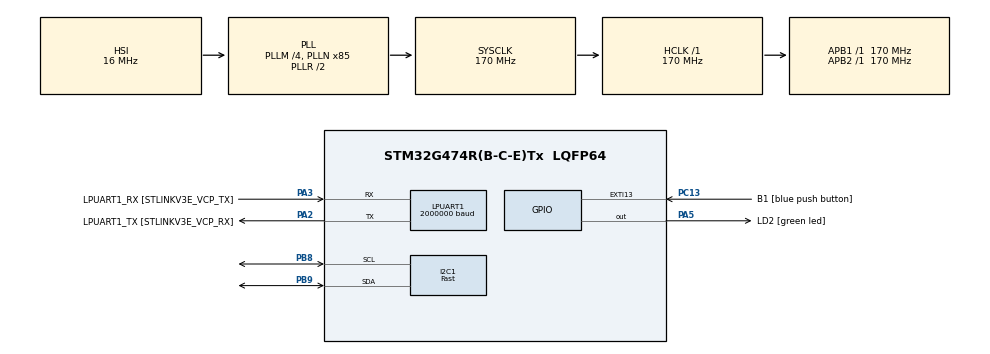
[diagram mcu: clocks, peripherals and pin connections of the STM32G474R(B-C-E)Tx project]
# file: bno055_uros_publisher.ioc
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Dma.I2C1_RX.1.Direction=DMA_PERIPH_TO_MEMORY
Dma.I2C1_RX.1.EventEnable=DISABLE
Dma.I2C1_RX.1.Instance=DMA1_Channel4
Dma.I2C1_RX.1.MemDataAlignment=DMA_MDATAALIGN_BYTE
Dma.I2C1_RX.1.MemInc=DMA_MINC_ENABLE
Dma.I2C1_RX.1.Mode=DMA_NORMAL
Dma.I2C1_RX.1.PeriphDataAlignment=DMA_PDATAALIGN_BYTE
Dma.I2C1_RX.1.PeriphInc=DMA_PINC_DISABLE
Dma.I2C1_RX.1.Polarity=HAL_DMAMUX_REQ_GEN_RISING
Dma.I2C1_RX.1.Priority=DMA_PRIORITY_LOW
Dma.I2C1_RX.1.RequestNumber=1
Dma.I2C1_RX.1.SignalID=NONE
Dma.I2C1_RX.1.SyncEnable=DISABLE
Dma.I2C1_RX.1.SyncPolarity=HAL_DMAMUX_SYNC_NO_EVENT
Dma.I2C1_RX.1.SyncRequestNumber=1
Dma.I2C1_RX.1.SyncSignalID=NONE
Dma.I2C1_TX.0.Direction=DMA_MEMORY_TO_PERIPH
Dma.I2C1_TX.0.EventEnable=DISABLE
Dma.I2C1_TX.0.Instance=DMA1_Channel3
Dma.I2C1_TX.0.MemDataAlignment=DMA_MDATAALIGN_BYTE
Dma.I2C1_TX.0.MemInc=DMA_MINC_ENABLE
Dma.I2C1_TX.0.Mode=DMA_NORMAL
Dma.I2C1_TX.0.PeriphDataAlignment=DMA_PDATAALIGN_BYTE
Dma.I2C1_TX.0.PeriphInc=DMA_PINC_DISABLE
Dma.I2C1_TX.0.Polarity=HAL_DMAMUX_REQ_GEN_RISING
Dma.I2C1_TX.0.Priority=DMA_PRIORITY_LOW
Dma.I2C1_TX.0.RequestNumber=1
Dma.I2C1_TX.0.SignalID=NONE
Dma.I2C1_TX.0.SyncEnable=DISABLE
Dma.I2C1_TX.0.SyncPolarity=HAL_DMAMUX_SYNC_NO_EVENT
Dma.I2C1_TX.0.SyncRequestNumber=1
Dma.I2C1_TX.0.SyncSignalID=NONE
Dma.LPUART1_RX.3.Direction=DMA_PERIPH_TO_MEMORY
Dma.LPUART1_RX.3.EventEnable=DISABLE
Dma.LPUART1_RX.3.Instance=DMA1_Channel6
Dma.LPUART1_RX.3.MemDataAlignment=DMA_MDATAALIGN_BYTE
Dma.LPUART1_RX.3.MemInc=DMA_MINC_ENABLE
Dma.LPUART1_RX.3.Mode=DMA_CIRCULAR
Dma.LPUART1_RX.3.PeriphDataAlignment=DMA_PDATAALIGN_BYTE
Dma.LPUART1_RX.3.PeriphInc=DMA_PINC_DISABLE
Dma.LPUART1_RX.3.Polarity=HAL_DMAMUX_REQ_GEN_RISING
Dma.LPUART1_RX.3.Priority=DMA_PRIORITY_VERY_HIGH
Dma.LPUART1_RX.3.RequestNumber=1
Dma.LPUART1_RX.3.SignalID=NONE
Dma.LPUART1_RX.3.SyncEnable=DISABLE
Dma.LPUART1_RX.3.SyncPolarity=HAL_DMAMUX_SYNC_NO_EVENT
Dma.LPUART1_RX.3.SyncRequestNumber=1
Dma.LPUART1_RX.3.SyncSignalID=NONE
Dma.LPUART1_TX.2.Direction=DMA_MEMORY_TO_PERIPH
Dma.LPUART1_TX.2.EventEnable=DISABLE
Dma.LPUART1_TX.2.Instance=DMA1_Channel2
Dma.LPUART1_TX.2.MemDataAlignment=DMA_MDATAALIGN_BYTE
Dma.LPUART1_TX.2.MemInc=DMA_MINC_ENABLE
Dma.LPUART1_TX.2.Mode=DMA_NORMAL
Dma.LPUART1_TX.2.PeriphDataAlignment=DMA_PDATAALIGN_BYTE
Dma.LPUART1_TX.2.PeriphInc=DMA_PINC_DISABLE
Dma.LPUART1_TX.2.Polarity=HAL_DMAMUX_REQ_GEN_RISING
Dma.LPUART1_TX.2.Priority=DMA_PRIORITY_VERY_HIGH
Dma.LPUART1_TX.2.RequestNumber=1
Dma.LPUART1_TX.2.SignalID=NONE
Dma.LPUART1_TX.2.SyncEnable=DISABLE
Dma.LPUART1_TX.2.SyncPolarity=HAL_DMAMUX_SYNC_NO_EVENT
Dma.LPUART1_TX.2.SyncRequestNumber=1
Dma.LPUART1_TX.2.SyncSignalID=NONE
Dma.Request0=I2C1_TX
Dma.Request1=I2C1_RX
Dma.Request2=LPUART1_TX
Dma.Request3=LPUART1_RX
FREERTOS.Tasks01=defaultTask,24,3000,StartDefaultTask,As weak,NULL,Static,defaultTaskBuffer,defaultTaskControlBlock
FREERTOS.configENABLE_FPU=1
FREERTOS.configTICK_RATE_HZ=1000
FREERTOS.configTIMER_TASK_STACK_DEPTH=256
I2C1.I2C_Speed_Mode=I2C_Fast
I2C1.Timing=0x40621236
IWDG.Reload=2499
LPUART1.BaudRate=2000000
Mcu.Family=STM32G4
Mcu.Name=STM32G474R(B-C-E)Tx
Mcu.Package=LQFP64
NVIC.DMA1_Channel2_IRQn=true\:5\:0\:false\:false\:true\:true\:false\:true\:true
NVIC.DMA1_Channel3_IRQn=true\:5\:0\:false\:false\:true\:true\:false\:true\:true
NVIC.DMA1_Channel4_IRQn=true\:5\:0\:false\:false\:true\:true\:false\:true\:true
NVIC.DMA1_Channel6_IRQn=true\:5\:0\:false\:false\:true\:true\:false\:true\:true
NVIC.I2C1_ER_IRQn=true\:5\:0\:false\:false\:true\:true\:true\:true\:true
NVIC.I2C1_EV_IRQn=true\:5\:0\:false\:false\:true\:true\:true\:true\:true
NVIC.LPUART1_IRQn=true\:5\:0\:false\:false\:true\:true\:true\:true\:true
NVIC.PriorityGroup=NVIC_PRIORITYGROUP_4
NVIC.TIM1_UP_TIM16_IRQn=true\:15\:0\:false\:false\:true\:false\:false\:true\:true
NVIC.TIM2_IRQn=true\:5\:0\:false\:false\:true\:true\:true\:true\:true
NVIC.TimeBase=TIM1_UP_TIM16_IRQn
NVIC.TimeBaseIP=TIM1
PA13.GPIO_Label=T_SWDIO
PA13.Signal=SYS_JTMS-SWDIO
PA14.GPIO_Label=T_SWCLK
PA14.Signal=SYS_JTCK-SWCLK
PA2.GPIO_Label=LPUART1_TX [STLINKV3E_VCP_RX]
PA2.Mode=Asynchronous
PA2.Signal=LPUART1_TX
PA3.GPIO_Label=LPUART1_RX [STLINKV3E_VCP_TX]
PA3.Mode=Asynchronous
PA3.Signal=LPUART1_RX
PA5.GPIO_Label=LD2 [green led]
PA5.Signal=GPIO_Output
PB3.GPIO_Label=T_SWO
PB3.Signal=SYS_JTDO-SWO
PB8-BOOT0.Mode=I2C
PB8-BOOT0.Signal=I2C1_SCL
PB9.Mode=I2C
PB9.Signal=I2C1_SDA
PC13.GPIO_Label=B1 [blue push button]
PC13.Signal=GPXTI13
PC14-OSC32_IN.GPIO_Label=RCC_OSC32_IN
PC14-OSC32_IN.Signal=RCC_OSC32_IN
PC15-OSC32_OUT.GPIO_Label=RCC_OSC32_OUT
PC15-OSC32_OUT.Signal=RCC_OSC32_OUT
PF0-OSC_IN.GPIO_Label=RCC_OSC_IN
PF0-OSC_IN.Signal=RCC_OSC_IN
PF1-OSC_OUT.GPIO_Label=RCC_OSC_OUT
PF1-OSC_OUT.Signal=RCC_OSC_OUT
ProjectManager.HeapSize=0x200
ProjectManager.StackSize=0x400
ProjectManager.TargetToolchain=STM32CubeIDE
RCC.ADC12Freq_Value=170000000
RCC.ADC345Freq_Value=170000000
RCC.AHBFreq_Value=170000000
RCC.APB1Freq_Value=170000000
RCC.APB1TimFreq_Value=170000000
RCC.APB2Freq_Value=170000000
RCC.APB2TimFreq_Value=170000000
RCC.CortexFreq_Value=170000000
RCC.EXTERNAL_CLOCK_VALUE=12288000
RCC.HCLKFreq_Value=170000000
RCC.HSE_VALUE=24000000
RCC.HSI48_VALUE=48000000
RCC.HSI_VALUE=16000000
RCC.LSE_VALUE=32768
RCC.PLLM=RCC_PLLM_DIV4
RCC.PLLN=85
RCC.RTCClockSelection=RCC_RTCCLKSOURCE_LSE
RCC.SYSCLKFreq_VALUE=170000000
RCC.SYSCLKSource=RCC_SYSCLKSOURCE_PLLCLK
RCC.USBFreq_Value=170000000
RCC.VCOOutputFreq_Value=340000000
TIM2.PeriodNoDither=999
TIM2.Prescaler=169
TIM2.TIM_MasterOutputTrigger=TIM_TRGO_UPDATE
VP_FREERTOS_VS_CMSIS_V2.Mode=CMSIS_V2
VP_IWDG_VS_IWDG.Mode=IWDG_Activate
VP_SYS_VS_DBSignals.Mode=DisableDeadBatterySignals
VP_SYS_VS_tim1.Mode=TIM1
VP_TIM2_VS_ClockSourceINT.Mode=Internal
board=NUCLEO-G474RE

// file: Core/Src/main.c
/* USER CODE BEGIN Header */
/**
 ******************************************************************************
 * @file           : main.c
 * @brief          : Main program body
 ******************************************************************************
 * @attention
 *
 * Copyright (c) 2025 STMicroelectronics.
 * All rights reserved.
 *
 * This software is licensed under terms that can be found in the LICENSE file
 * in the root directory of this software component.
 * If no LICENSE file comes with this software, it is provided AS-IS.
 *
 ******************************************************************************
 */
/* USER CODE END Header */
#include "main.h"
#include "cmsis_os.h"
#include "dma.h"
#include "i2c.h"
#include "iwdg.h"
#include "usart.h"
#include "tim.h"
#include "gpio.h"

/* USER CODE BEGIN Includes */
#include <rcl/rcl.h>
#include <rcl/error_handling.h>
#include <rclc/rclc.h>
#include <rclc/executor.h>
#include <uxr/client/transport.h>
#include <rmw_microxrcedds_c/config.h>
#include <rmw_microros/rmw_microros.h>

#include <std_msgs/msg/float64_multi_array.h>
#include "BNO055.h"
/* USER CODE END Includes */

/* USER CODE BEGIN PD */
#define RCCHECK(fn) if(fn != RCL_RET_OK) {};
/* USER CODE END PD */

/* USER CODE BEGIN PV */
rclc_support_t support;
rcl_allocator_t allocator;
rcl_node_t node;
rcl_init_options_t init_options;
rcl_timer_t timer_;
rclc_executor_t executor;

rcl_publisher_t f64array_pub;
double f64array_data[16];
std_msgs__msg__Float64MultiArray f64array_msg = { .data = { .data =
		f64array_data, .capacity = 16, .size = 16 } };

uint8_t sync = 0;

BNO055_t bno;

const calibration_data_t saved_calib = { .accel_offset_x = 8, .accel_offset_y =
		17, .accel_offset_z = -17, .mag_offset_x = -396, .mag_offset_y = 179,
		.mag_offset_z = -221, .gyro_offset_x = -2, .gyro_offset_y = 1,
		.gyro_offset_z = 0, .accel_radius = 1000, .mag_radius = 1207 };
/* USER CODE END PV */

void SystemClock_Config(void);
void MX_FREERTOS_Init(void);
/* USER CODE BEGIN PFP */
bool cubemx_transport_open(struct uxrCustomTransport *transport);
bool cubemx_transport_close(struct uxrCustomTransport *transport);
size_t cubemx_transport_write(struct uxrCustomTransport *transport,
		const uint8_t *buf, size_t len, uint8_t *err);
size_t cubemx_transport_read(struct uxrCustomTransport *transport, uint8_t *buf,
		size_t len, int timeout, uint8_t *err);

void* microros_allocate(size_t size, void *state);
void microros_deallocate(void *pointer, void *state);
void* microros_reallocate(void *pointer, size_t size, void *state);
void* microros_zero_allocate(size_t number_of_elements, size_t size_of_element,
		void *state);

void SensorsPublished();
/* USER CODE END PFP */

int main(void) {

	/* MCU Configuration--------------------------------------------------------*/

	/* Reset of all peripherals, Initializes the Flash interface and the Systick. */
	HAL_Init();

	/* Configure the system clock */
	SystemClock_Config();

	/* Initialize all configured peripherals */
	MX_GPIO_Init();
	MX_DMA_Init();
	MX_IWDG_Init();
	MX_I2C1_Init();
	MX_TIM2_Init();
	MX_LPUART1_UART_Init();
	/* USER CODE BEGIN 2 */
	if (BNO055_Init(&bno, &hi2c1, 0) != HAL_OK) {
		Error_Handler();
	}

	BNO055_LoadCalibration(&bno, &saved_calib);

	BNO055_SetAxisRemap(&bno, AXIS_REMAP_P1, AXIS_REMAP_SIGN_P1);

	HAL_TIM_Base_Start_IT(&htim2);
	/* USER CODE END 2 */

	/* Init scheduler */
	osKernelInitialize(); /* Call init function for freertos objects (in cmsis_os2.c) */
	MX_FREERTOS_Init();

	/* Start scheduler */
	osKernelStart();

	/* We should never get here as control is now taken by the scheduler */

	/* Infinite loop */
	while (1) {

	}
}

void SystemClock_Config(void) {
	RCC_OscInitTypeDef RCC_OscInitStruct = { 0 };
	RCC_ClkInitTypeDef RCC_ClkInitStruct = { 0 };

	/** Configure the main internal regulator output voltage
	 */
	HAL_PWREx_ControlVoltageScaling(PWR_REGULATOR_VOLTAGE_SCALE1_BOOST);

	/** Initializes the RCC Oscillators according to the specified parameters
	 * in the RCC_OscInitTypeDef structure.
	 */
	RCC_OscInitStruct.OscillatorType = RCC_OSCILLATORTYPE_HSI
			| RCC_OSCILLATORTYPE_LSI;
	RCC_OscInitStruct.HSIState = RCC_HSI_ON;
	RCC_OscInitStruct.HSICalibrationValue = RCC_HSICALIBRATION_DEFAULT;
	RCC_OscInitStruct.LSIState = RCC_LSI_ON;
	RCC_OscInitStruct.PLL.PLLState = RCC_PLL_ON;
	RCC_OscInitStruct.PLL.PLLSource = RCC_PLLSOURCE_HSI;
	RCC_OscInitStruct.PLL.PLLM = RCC_PLLM_DIV4;
	RCC_OscInitStruct.PLL.PLLN = 85;
	RCC_OscInitStruct.PLL.PLLP = RCC_PLLP_DIV2;
	RCC_OscInitStruct.PLL.PLLQ = RCC_PLLQ_DIV2;
	RCC_OscInitStruct.PLL.PLLR = RCC_PLLR_DIV2;
	if (HAL_RCC_OscConfig(&RCC_OscInitStruct) != HAL_OK) {
		Error_Handler();
	}

	/** Initializes the CPU, AHB and APB buses clocks
	 */
	RCC_ClkInitStruct.ClockType = RCC_CLOCKTYPE_HCLK | RCC_CLOCKTYPE_SYSCLK
			| RCC_CLOCKTYPE_PCLK1 | RCC_CLOCKTYPE_PCLK2;
	RCC_ClkInitStruct.SYSCLKSource = RCC_SYSCLKSOURCE_PLLCLK;
	RCC_ClkInitStruct.AHBCLKDivider = RCC_SYSCLK_DIV1;
	RCC_ClkInitStruct.APB1CLKDivider = RCC_HCLK_DIV1;
	RCC_ClkInitStruct.APB2CLKDivider = RCC_HCLK_DIV1;

	if (HAL_RCC_ClockConfig(&RCC_ClkInitStruct, FLASH_LATENCY_4) != HAL_OK) {
		Error_Handler();
	}
}

/* USER CODE BEGIN 4 */
void timer_callback(rcl_timer_t *timer, int64_t last_call_time) {
	static uint8_t cnt = 0;
	if (timer != NULL) {

		if (cnt == 0)
			HAL_GPIO_TogglePin(LD2_GPIO_Port, LD2_Pin);
		cnt = (cnt + 1) % 50;

		if (sync++ >= 255) {  // Sync session at lower frequency
			rmw_uros_sync_session(1000);
			sync = 0;
		}

		SensorsPublished();
		HAL_IWDG_Refresh(&hiwdg);
	}

}

void SensorsPublished() {

	// quaternion
	f64array_msg.data.data[0] = bno.quat.x;
	f64array_msg.data.data[1] = bno.quat.y;
	f64array_msg.data.data[2] = bno.quat.z;
	f64array_msg.data.data[3] = bno.quat.w;

	//  acceleration
	f64array_msg.data.data[4] = bno.accel.x;
	f64array_msg.data.data[5] = bno.accel.y;
	f64array_msg.data.data[6] = bno.accel.z;

	// gyro (angular velocity)
	f64array_msg.data.data[7] = bno.gyro.x;
	f64array_msg.data.data[8] = bno.gyro.y;
	f64array_msg.data.data[9] = bno.gyro.z;

	// magnetometer
	f64array_msg.data.data[10] = bno.mag.x;
	f64array_msg.data.data[11] = bno.mag.y;
	f64array_msg.data.data[12] = bno.mag.z;

	// euler angles
	f64array_msg.data.data[13] = bno.euler.roll;
	f64array_msg.data.data[14] = bno.euler.pitch;
	f64array_msg.data.data[15] = bno.euler.yaw;

	RCCHECK(rcl_publish(&f64array_pub, &f64array_msg, NULL));

}
void StartDefaultTask(void *argument) {
	// micro-ROS configuration

	rmw_uros_set_custom_transport(
	true, (void*) &hlpuart1, cubemx_transport_open, cubemx_transport_close,
			cubemx_transport_write, cubemx_transport_read);

	rcl_allocator_t freeRTOS_allocator =
			rcutils_get_zero_initialized_allocator();
	freeRTOS_allocator.allocate = microros_allocate;
	freeRTOS_allocator.deallocate = microros_deallocate;
	freeRTOS_allocator.reallocate = microros_reallocate;
	freeRTOS_allocator.zero_allocate = microros_zero_allocate;

	if (!rcutils_set_default_allocator(&freeRTOS_allocator)) {
		printf("Error on default allocators (line %d)\n", __LINE__);
	}

	allocator = rcl_get_default_allocator();

	init_options = rcl_get_zero_initialized_init_options();
	RCCHECK(rcl_init_options_init(&init_options, allocator));
	RCCHECK(rcl_init_options_set_domain_id(&init_options, 124));

	rclc_support_init_with_options(&support, 0, NULL, &init_options,
			&allocator);

	rclc_node_init_default(&node, "bno055_publisher", "", &support);

	rclc_publisher_init_best_effort(&f64array_pub, &node,
			ROSIDL_GET_MSG_TYPE_SUPPORT(std_msgs, msg, Float64MultiArray),
			"bno055_data");

	executor = rclc_executor_get_zero_initialized_executor();
	rmw_uros_sync_session(1000);

	rclc_timer_init_default(&timer_, &support, RCL_MS_TO_NS(10),
			timer_callback);

	rclc_executor_init(&executor, &support.context, 1, &allocator);
	rclc_executor_add_timer(&executor, &timer_);
	rclc_executor_spin(&executor);
}

void HAL_I2C_MemRxCpltCallback(I2C_HandleTypeDef *hi2c) {
	if (hi2c == &hi2c1) {
		BNO055_ProcessDMA(&bno);
	}
}

/* USER CODE END 4 */

void HAL_TIM_PeriodElapsedCallback(TIM_HandleTypeDef *htim) {
	if (htim->Instance == TIM1) {
		HAL_IncTick();
	}
	/* USER CODE BEGIN Callback 1 */
	if (htim == &htim2) {
		if (bno.dma_ready) {
			BNO055_UpdateDMA(&bno);
		}
	}
	/* USER CODE END Callback 1 */
}

void Error_Handler(void) {
	__disable_irq();
	while (1) {
	}
}
